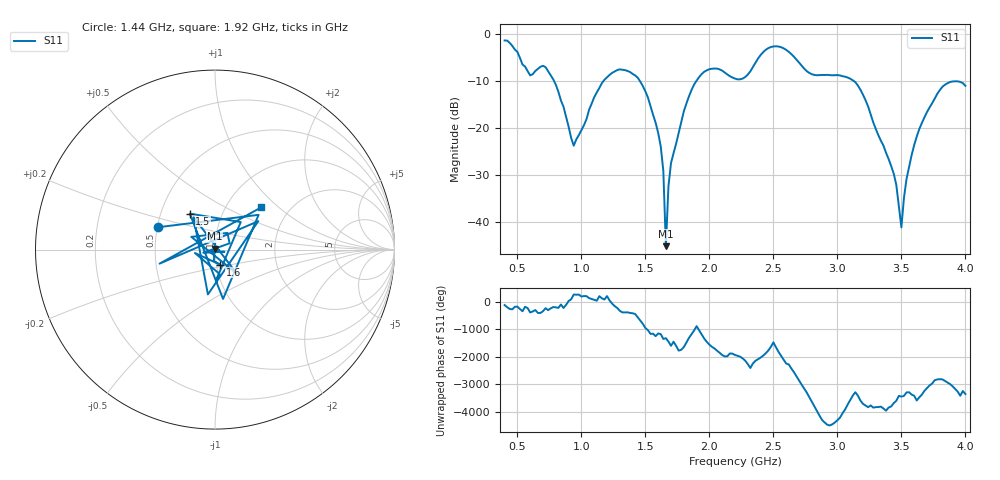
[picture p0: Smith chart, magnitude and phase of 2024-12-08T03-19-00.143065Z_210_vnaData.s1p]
!Created with skrf (http://scikit-rf.org).
# Hz S RI R 50.0
!freq ReS11 ImS11
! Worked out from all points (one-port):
!   181 points, 400 MHz to 4 GHz, reference 50 ohm
!   lowest |S11| = -45.2 dB at 1.66 GHz (marker M1), VSWR 1.01, Z = 49.8 + j0.497 ohm
!   |S11| at or under -10 dB: 786 MHz to 1.173 GHz (387 MHz wide, 39.5 % of centre); 1.456 GHz to 1.899 GHz (442.2 MHz wide, 26.4 % of centre); 3.127 GHz to end of sweep
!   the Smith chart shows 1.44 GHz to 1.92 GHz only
!   S11 on the Smith chart (normalised r, x): 1.44 GHz: 0.50, +0.14; 1.5 GHz: 0.70, +0.30; 1.6 GHz: 1.04, -0.18; 1.92 GHz: 1.45, +0.77
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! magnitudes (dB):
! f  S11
! 400 MHz  -1.4
! 600 MHz  -8.8
! 720 MHz  -7.1
! 860 MHz  -15.5
! 940 MHz  -23.8
! 1.16 GHz  -10.5
! 1.3 GHz  -7.5
! 1.44 GHz  -9.3
! 1.5 GHz  -12.2
! 1.6 GHz  -21.1
! 1.64 GHz  -29.1
! 1.66 GHz  -45.2
! 1.68 GHz  -32.4
! 1.7 GHz  -27.5
! 1.76 GHz  -21.1
! 1.92 GHz  -9.2
! 2.2 GHz  -9.5
! 2.48 GHz  -2.8
! 2.66 GHz  -4.8
! 3.1 GHz  -9.5
! 3.2 GHz  -12.9
! 3.42 GHz  -28.1
! 3.46 GHz  -32.1
! 3.5 GHz  -41.2
! 3.56 GHz  -28.3
! 3.64 GHz  -20.2
! 3.8 GHz  -12.0
! 4 GHz  -11.0
